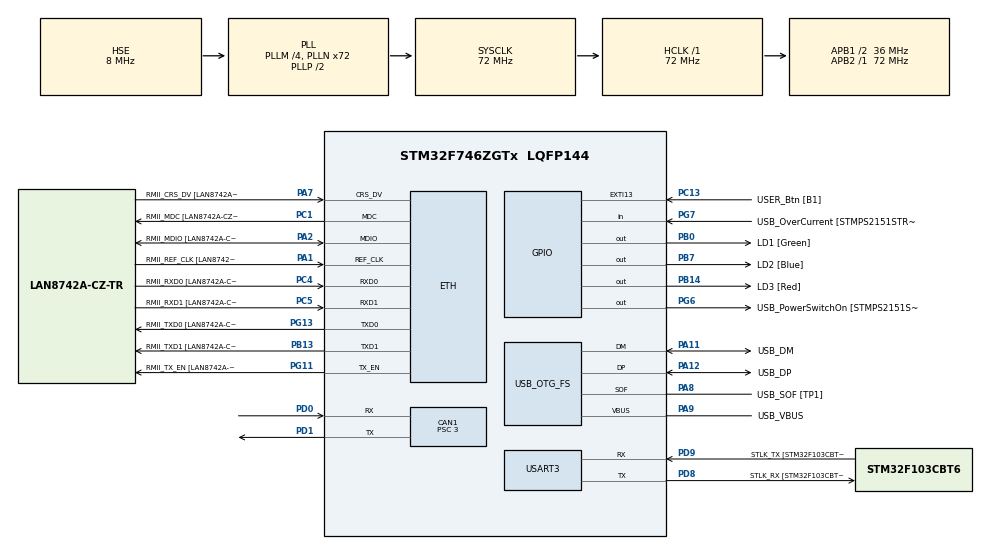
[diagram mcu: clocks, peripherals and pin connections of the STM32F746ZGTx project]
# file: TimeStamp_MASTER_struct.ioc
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CAN1.BS1=CAN_BS1_8TQ
CAN1.BS2=CAN_BS2_3TQ
CAN1.CalculateBaudRate=999999
CAN1.CalculateTimeBit=1000
CAN1.CalculateTimeQuantum=83.33333333333334
CAN1.NART=ENABLE
CAN1.Prescaler=3
CAN1.SJW=CAN_SJW_3TQ
ETH.MediaInterface=HAL_ETH_RMII_MODE
ETH.PHY_Name=LAN8742A_PHY_ADDRESS
ETH.PHY_Value=0
ETH.PhyAddress=0
Mcu.Family=STM32F7
Mcu.Name=STM32F746ZGTx
Mcu.Package=LQFP144
NVIC.CAN1_RX0_IRQn=true\:0\:0\:false\:false\:true\:true\:true\:true
NVIC.CAN1_SCE_IRQn=true\:0\:0\:false\:false\:true\:true\:true\:true
NVIC.OTG_FS_IRQn=true\:0\:0\:false\:false\:true\:false\:true\:true
NVIC.PriorityGroup=NVIC_PRIORITYGROUP_4
NVIC.TIM3_IRQn=true\:0\:0\:false\:false\:true\:true\:true\:true
PA1.GPIO_Label=RMII_REF_CLK [LAN8742A-CZ-TR_REFCLK0]
PA1.Mode=RMII
PA1.Signal=ETH_REF_CLK
PA10.GPIO_Label=USB_ID
PA10.Signal=USB_OTG_FS_ID
PA11.GPIO_Label=USB_DM
PA11.Mode=Device_Only
PA11.Signal=USB_OTG_FS_DM
PA12.GPIO_Label=USB_DP
PA12.Mode=Device_Only
PA12.Signal=USB_OTG_FS_DP
PA13.GPIO_Label=TMS
PA13.Mode=Serial_Wire
PA13.Signal=SYS_JTMS-SWDIO
PA14.GPIO_Label=TCK
PA14.Mode=Serial_Wire
PA14.Signal=SYS_JTCK-SWCLK
PA2.GPIO_Label=RMII_MDIO [LAN8742A-CZ-TR_MDIO]
PA2.Mode=RMII
PA2.Signal=ETH_MDIO
PA7.GPIO_Label=RMII_CRS_DV [LAN8742A-CZ-TR_CRS_DV]
PA7.Mode=RMII
PA7.Signal=ETH_CRS_DV
PA8.GPIO_Label=USB_SOF [TP1]
PA8.Mode=Activate_SOF_FS
PA8.Signal=USB_OTG_FS_SOF
PA9.GPIO_Label=USB_VBUS
PA9.Mode=Activate_VBUS
PA9.Signal=USB_OTG_FS_VBUS
PB0.GPIO_Label=LD1 [Green]
PB0.Signal=GPIO_Output
PB13.GPIO_Label=RMII_TXD1 [LAN8742A-CZ-TR_TXD1]
PB13.Mode=RMII
PB13.Signal=ETH_TXD1
PB14.GPIO_Label=LD3 [Red]
PB14.Signal=GPIO_Output
PB3.GPIO_Label=SW0
PB3.Signal=SYS_JTDO-SWO
PB7.GPIO_Label=LD2 [Blue]
PB7.Signal=GPIO_Output
PC1.GPIO_Label=RMII_MDC [LAN8742A-CZ-TR_MDC]
PC1.Mode=RMII
PC1.Signal=ETH_MDC
PC13.GPIO_Label=USER_Btn [B1]
PC13.Signal=GPXTI13
PC14/OSC32_IN.Mode=LSE-External-Oscillator
PC14/OSC32_IN.Signal=RCC_OSC32_IN
PC15/OSC32_OUT.Mode=LSE-External-Oscillator
PC15/OSC32_OUT.Signal=RCC_OSC32_OUT
PC4.GPIO_Label=RMII_RXD0 [LAN8742A-CZ-TR_RXD0]
PC4.Mode=RMII
PC4.Signal=ETH_RXD0
PC5.GPIO_Label=RMII_RXD1 [LAN8742A-CZ-TR_RXD1]
PC5.Mode=RMII
PC5.Signal=ETH_RXD1
PD0.Mode=CAN_Activate
PD0.Signal=CAN1_RX
PD1.Mode=CAN_Activate
PD1.Signal=CAN1_TX
PD8.GPIO_Label=STLK_RX [STM32F103CBT6_PA3]
PD8.GPIO_PuPd=GPIO_PULLUP
PD8.Mode=Asynchronous
PD8.Signal=USART3_TX
PD9.GPIO_Label=STLK_TX [STM32F103CBT6_PA2]
PD9.GPIO_PuPd=GPIO_PULLUP
PD9.Mode=Asynchronous
PD9.Signal=USART3_RX
PG11.GPIO_Label=RMII_TX_EN [LAN8742A-CZ-TR_TXEN]
PG11.Mode=RMII
PG11.Signal=ETH_TX_EN
PG13.GPIO_Label=RMII_TXD0 [LAN8742A-CZ-TR_TXD0]
PG13.Mode=RMII
PG13.Signal=ETH_TXD0
PG6.GPIO_Label=USB_PowerSwitchOn [STMPS2151STR_EN]
PG6.Signal=GPIO_Output
PG7.GPIO_Label=USB_OverCurrent [STMPS2151STR_FAULT]
PG7.Signal=GPIO_Input
PH0/OSC_IN.GPIO_Label=MCO [STM32F103CBT6_PA8]
PH0/OSC_IN.Mode=HSE-External-Clock-Source
PH0/OSC_IN.Signal=RCC_OSC_IN
PH1/OSC_OUT.Mode=HSE-External-Clock-Source
PH1/OSC_OUT.Signal=RCC_OSC_OUT
ProjectManager.HeapSize=0x200
ProjectManager.StackSize=0x400
ProjectManager.TargetToolchain=STM32CubeIDE
RCC.48MHZClocksFreq_Value=24000000
RCC.AHBFreq_Value=72000000
RCC.APB1CLKDivider=RCC_HCLK_DIV2
RCC.APB1Freq_Value=36000000
RCC.APB1TimFreq_Value=72000000
RCC.APB2Freq_Value=72000000
RCC.APB2TimFreq_Value=72000000
RCC.CortexFreq_Value=72000000
RCC.HCLKFreq_Value=72000000
RCC.HSE_VALUE=8000000
RCC.HSI_VALUE=16000000
RCC.PLLM=4
RCC.PLLMUL=RCC_PLL_MUL9
RCC.PLLN=72
RCC.PLLQ=3
RCC.PRESCALERUSB=RCC_USBCLKSOURCE_PLL_DIV1_5
RCC.SYSCLKFreq_VALUE=72000000
RCC.SYSCLKSource=RCC_SYSCLKSOURCE_PLLCLK
RCC.SYSCLKSourceVirtual=RCC_SYSCLKSOURCE_PLLCLK
RCC.USBFreq_Value=48000000
RCC.VCOOutputFreq_Value=144000000
TIM3.Period=10000-1
TIM3.Prescaler=7200-1
USART3.VirtualMode-Asynchronous=VM_ASYNC
USB_DEVICE.CLASS_NAME_FS=CDC
USB_DEVICE.USBD_MAX_NUM_INTERFACES-CDC_FS=1
USB_DEVICE.VirtualMode-CDC_FS=Cdc
USB_DEVICE.VirtualModeFS=Cdc_FS
USB_OTG_FS.VirtualMode=Device_Only
VP_TIM3_VS_ClockSourceINT.Mode=Internal
VP_USB_DEVICE_VS_USB_DEVICE_CDC_FS.Mode=CDC_FS
board=NUCLEO-F746ZG

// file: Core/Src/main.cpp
/* USER CODE BEGIN Header */
/**
  ******************************************************************************
  * @file           : main.c
  * @brief          : Main program body
  ******************************************************************************
  * @attention
  *
  * Copyright (c) 2023 STMicroelectronics.
  * All rights reserved.
  *
  * This software is licensed under terms that can be found in the LICENSE file
  * in the root directory of this software component.
  * If no LICENSE file comes with this software, it is provided AS-IS.
  *
  ******************************************************************************
  */
/* USER CODE END Header */
#include "main.h"
#include "string.h"
#include "usb_device.h"

/* USER CODE BEGIN Includes */
#include "system.h"
#include "CANmaster.h"
#include "PCIF.h"
#include "timeStampService.h"

/* USER CODE END Includes */

/* USER CODE BEGIN PD */
#define CAN_MASTER_NODE_ID 0

/* USER CODE END PD */

#if defined ( __ICCARM__ ) /*!< IAR Compiler */
#pragma location=0x2004c000
ETH_DMADescTypeDef  DMARxDscrTab[ETH_RX_DESC_CNT]; /* Ethernet Rx DMA Descriptors */
#pragma location=0x2004c0a0
ETH_DMADescTypeDef  DMATxDscrTab[ETH_TX_DESC_CNT]; /* Ethernet Tx DMA Descriptors */

#elif defined ( __CC_ARM )  /* MDK ARM Compiler */

__attribute__((at(0x2004c000))) ETH_DMADescTypeDef  DMARxDscrTab[ETH_RX_DESC_CNT]; /* Ethernet Rx DMA Descriptors */
__attribute__((at(0x2004c0a0))) ETH_DMADescTypeDef  DMATxDscrTab[ETH_TX_DESC_CNT]; /* Ethernet Tx DMA Descriptors */

#elif defined ( __GNUC__ ) /* GNU Compiler */
ETH_DMADescTypeDef DMARxDscrTab[ETH_RX_DESC_CNT] __attribute__((section(".RxDecripSection"))); /* Ethernet Rx DMA Descriptors */
ETH_DMADescTypeDef DMATxDscrTab[ETH_TX_DESC_CNT] __attribute__((section(".TxDecripSection")));   /* Ethernet Tx DMA Descriptors */

#endif

ETH_TxPacketConfig TxConfig;

CAN_HandleTypeDef hcan1;

ETH_HandleTypeDef heth;

TIM_HandleTypeDef htim3;

UART_HandleTypeDef huart3;

/* USER CODE BEGIN PV */
/** Flag global para decirle al main, desde la interrupción, que hay nuevos datos de USB disponibles. */
volatile uint8_t flagNewUSBdata = 0;
uint8_t bufferNewUSBdata[64];
uint8_t lenNewUSBdata = 0;

/** Flag global para decirle al main, desde la interrupción, que hay nuevos datos de CAN disponibles. */
volatile uint8_t flagNewCANdataRx0 = 0;

/** Flag global para decirle al main, desde la interrupción, que hay que enviar el mensaje para pedir los datos de los timestamps. */
volatile uint8_t flagRequestTimestampData = 0;

/** Interfaz master de CAN */
static CANmaster_t canMaster;

/** Interfaz con la PC */
static PCIF_t pcIf;

/** Servicio de toma de timestamps de los slaves */
static timeStampService_t timeStampService;

/** Este buffer se usa para encolar eventos que hayan ocurrido. Luego el dispatcher los toma y ejecuta en respuesta. */
static evBuffer eventsBuffer;

/** Cada vez que alguien quiere enviar un mensaje a través del bus CAN, debe depositar el mensaje en este buffer. */
static canMsgBuffer canTxBuffer;

/** Cada vez que se recibe un mensaje de CAN, el mensaje se copia en este buffer, para no perderlo y permitir que lleguen nuevos mensajes. */
static canMsgBuffer canRxBuffer;

/** Cada vez que se quiere enviar un mensaje a la PC, se deposita el mensaje acá. */
static PCIFMsgBuffer PCIFTxBuffer;

/** Cada vez que se recibe un mensaje desde la PC, se lo deposita acá. */
static PCIFMsgBuffer PCIFRxBuffer;

/** Punteros globales, sirven para que todos los miembros del sistema puedan acceder a estos elementos. */
evBuffer * const p_eventsBuffer = &eventsBuffer;
canMsgBuffer * const p_canTxBuffer = &canTxBuffer;
canMsgBuffer * const p_canRxBuffer = &canRxBuffer;
PCIFMsgBuffer * const p_PCIFTxBuffer = &PCIFTxBuffer;
PCIFMsgBuffer * const p_PCIFRxBuffer = &PCIFRxBuffer;

#ifdef __cplusplus
extern "C" {
#endif

/* USER CODE END PV */

void SystemClock_Config(void);
static void MX_GPIO_Init(void);
static void MX_ETH_Init(void);
static void MX_USART3_UART_Init(void);
static void MX_CAN1_Init(void);
static void MX_TIM3_Init(void);
/* USER CODE BEGIN PFP */

#ifdef __cplusplus
}
#endif

/* USER CODE END PFP */

int main(void)
{
  /* USER CODE BEGIN 1 */
  event_t event;
  PCIFmsg_t auxMsg;
  /* USER CODE END 1 */

  /* MCU Configuration--------------------------------------------------------*/

  /* Reset of all peripherals, Initializes the Flash interface and the Systick. */
  HAL_Init();

  /* Configure the system clock */
  SystemClock_Config();

  /* Initialize all configured peripherals */
  MX_GPIO_Init();
  MX_ETH_Init();
  MX_USART3_UART_Init();
  MX_CAN1_Init();
  MX_USB_DEVICE_Init();
  MX_TIM3_Init();
  /* USER CODE BEGIN 2 */

  //Dut.masterCANhandler = &hcan1;

  /* USER CODE END 2 */

  /* Infinite loop */
  /* USER CODE BEGIN WHILE */
  //STM32::gpio redLED(PORT_RED_LED, PIN_RED_LED);
  //STM32::gpio greenLED(PORT_GREEN_LED, PIN_GREEN_LED);
  //STM32::gpio blueLED(PORT_BLUE_LED, PIN_BLUE_LED);

  CANmaster_constructor(&canMaster, &hcan1, CAN_MASTER_NODE_ID);
  //CANmaster_constructor(&canMaster, &hcan1, CAN_MASTER_NODE_ID, &blueLED, &redLED, &greenLED);
  PCIF_constructor(&pcIf);
  timeStampService_constructor(&timeStampService, &htim3);

  stateMachine_init((stateMachine_t*)&canMaster);
  stateMachine_init((stateMachine_t*)&pcIf);

  stateMachine_init((stateMachine_t*)&timeStampService);

  HAL_Delay(5000);

  while (1)
  {
    /* USER CODE END WHILE */

    /* USER CODE BEGIN 3 */
	// Me fijo si llegaron datos nuevos de USB.
	if(flagNewUSBdata == 1)
	{
		// Genero un tipo de dato PCIFmsg_t y lo encolo.
		if( PCIFmsg_make_from_bytes(bufferNewUSBdata, lenNewUSBdata, &auxMsg) == 0 )
		{
			p_PCIFRxBuffer->write(auxMsg);
		}

		// Bajo el flag, indicando que ya puedo seguir recibiendo datos de USB.
		flagNewUSBdata = 0;
	}

	// Verifica si hay nuevos datos provenientes del bus CAN.
	if(flagNewCANdataRx0 == 1)
	{
		p_eventsBuffer->write(EV_CAN_FETCH_NEW_MSGS);

		// Bajo el flag, indicando que ya le avisé al CAN master acerca de los datos nuevos
		flagNewCANdataRx0 = 0;
	}

	// Verifica si hay que enviar el próximo mensaje
	if(flagRequestTimestampData == 1)
	{
		p_eventsBuffer->write(EV_REQUEST_TIMESTAMP);
		// Se baja el flag
		flagRequestTimestampData = 0;
	}

    // Verifica si hay mensajes de CAN esperando para ser enviados. En dicho caso, genera un evento.
	if(!p_canTxBuffer->is_empty())
	{
	  p_eventsBuffer->write(EV_CAN_SEND_NEXT_MSG);
	}

	// Verifica si hay mensajes de CAN que están esperando para ser leidos. En dicho caso, genera un evento.
	if(!p_canRxBuffer->is_empty())
	{
	  p_eventsBuffer->write(EV_CAN_PROCESS_NEW_MSG);
	}

	// Verifica si hay mensajes esperando para ser enviados a la PC. En dicho caso, genera un evento.
	if(!p_PCIFTxBuffer->is_empty())
	{
	  p_eventsBuffer->write(EV_COMPUTERIF_SEND_MSG);
	}

	// Verifica si hay mensajes esperando para ser leidos, provenientes de la PC. En dicho caso, genera un evento.
	if(!p_PCIFRxBuffer->is_empty())
	{
	  p_eventsBuffer->write(EV_COMPUTERIF_PROCESS_NEW_MSG);
	}

	// Si hay eventos en el buffer de eventos, toma uno y lo dispatchea.
	if(!p_eventsBuffer->is_empty())
	{
	  p_eventsBuffer->read(&event);
	  stateMachine_dispatch((stateMachine_t*)&canMaster, event);
	  stateMachine_dispatch((stateMachine_t*)&pcIf, event);
	  stateMachine_dispatch((stateMachine_t*)&timeStampService, event);

	}
  }
  /* USER CODE END 3 */
}

void SystemClock_Config(void)
{
  RCC_OscInitTypeDef RCC_OscInitStruct = {0};
  RCC_ClkInitTypeDef RCC_ClkInitStruct = {0};

  /** Configure LSE Drive Capability
  */
  HAL_PWR_EnableBkUpAccess();

  /** Configure the main internal regulator output voltage
  */
  __HAL_RCC_PWR_CLK_ENABLE();
  __HAL_PWR_VOLTAGESCALING_CONFIG(PWR_REGULATOR_VOLTAGE_SCALE3);

  /** Initializes the RCC Oscillators according to the specified parameters
  * in the RCC_OscInitTypeDef structure.
  */
  RCC_OscInitStruct.OscillatorType = RCC_OSCILLATORTYPE_HSE;
  RCC_OscInitStruct.HSEState = RCC_HSE_BYPASS;
  RCC_OscInitStruct.PLL.PLLState = RCC_PLL_ON;
  RCC_OscInitStruct.PLL.PLLSource = RCC_PLLSOURCE_HSE;
  RCC_OscInitStruct.PLL.PLLM = 4;
  RCC_OscInitStruct.PLL.PLLN = 72;
  RCC_OscInitStruct.PLL.PLLP = RCC_PLLP_DIV2;
  RCC_OscInitStruct.PLL.PLLQ = 3;
  if (HAL_RCC_OscConfig(&RCC_OscInitStruct) != HAL_OK)
  {
    Error_Handler();
  }

  /** Initializes the CPU, AHB and APB buses clocks
  */
  RCC_ClkInitStruct.ClockType = RCC_CLOCKTYPE_HCLK|RCC_CLOCKTYPE_SYSCLK
                              |RCC_CLOCKTYPE_PCLK1|RCC_CLOCKTYPE_PCLK2;
  RCC_ClkInitStruct.SYSCLKSource = RCC_SYSCLKSOURCE_PLLCLK;
  RCC_ClkInitStruct.AHBCLKDivider = RCC_SYSCLK_DIV1;
  RCC_ClkInitStruct.APB1CLKDivider = RCC_HCLK_DIV2;
  RCC_ClkInitStruct.APB2CLKDivider = RCC_HCLK_DIV1;

  if (HAL_RCC_ClockConfig(&RCC_ClkInitStruct, FLASH_LATENCY_2) != HAL_OK)
  {
    Error_Handler();
  }
}

static void MX_CAN1_Init(void)
{

  hcan1.Instance = CAN1;
  hcan1.Init.Prescaler = 3;
  hcan1.Init.Mode = CAN_MODE_NORMAL;
  hcan1.Init.SyncJumpWidth = CAN_SJW_3TQ;
  hcan1.Init.TimeSeg1 = CAN_BS1_8TQ;
  hcan1.Init.TimeSeg2 = CAN_BS2_3TQ;
  hcan1.Init.TimeTriggeredMode = DISABLE;
  hcan1.Init.AutoBusOff = DISABLE;
  hcan1.Init.AutoWakeUp = DISABLE;
  hcan1.Init.AutoRetransmission = ENABLE;
  hcan1.Init.ReceiveFifoLocked = DISABLE;
  hcan1.Init.TransmitFifoPriority = DISABLE;
  if (HAL_CAN_Init(&hcan1) != HAL_OK)
  {
    Error_Handler();
  }

}

static void MX_ETH_Init(void)
{

   static uint8_t MACAddr[6];

  heth.Instance = ETH;
  MACAddr[0] = 0x00;
  MACAddr[1] = 0x80;
  MACAddr[2] = 0xE1;
  MACAddr[3] = 0x00;
  MACAddr[4] = 0x00;
  MACAddr[5] = 0x00;
  heth.Init.MACAddr = &MACAddr[0];
  heth.Init.MediaInterface = HAL_ETH_RMII_MODE;
  heth.Init.TxDesc = DMATxDscrTab;
  heth.Init.RxDesc = DMARxDscrTab;
  heth.Init.RxBuffLen = 1524;

  if (HAL_ETH_Init(&heth) != HAL_OK)
  {
    Error_Handler();
  }

  memset(&TxConfig, 0 , sizeof(ETH_TxPacketConfig));
  TxConfig.Attributes = ETH_TX_PACKETS_FEATURES_CSUM | ETH_TX_PACKETS_FEATURES_CRCPAD;
  TxConfig.ChecksumCtrl = ETH_CHECKSUM_IPHDR_PAYLOAD_INSERT_PHDR_CALC;
  TxConfig.CRCPadCtrl = ETH_CRC_PAD_INSERT;

}

static void MX_TIM3_Init(void)
{

  TIM_ClockConfigTypeDef sClockSourceConfig = {0};
  TIM_MasterConfigTypeDef sMasterConfig = {0};

  htim3.Instance = TIM3;
  htim3.Init.Prescaler = 7200-1;
  htim3.Init.CounterMode = TIM_COUNTERMODE_UP;
  htim3.Init.Period = 10000-1;
  htim3.Init.ClockDivision = TIM_CLOCKDIVISION_DIV1;
  htim3.Init.AutoReloadPreload = TIM_AUTORELOAD_PRELOAD_DISABLE;
  if (HAL_TIM_Base_Init(&htim3) != HAL_OK)
  {
    Error_Handler();
  }
  sClockSourceConfig.ClockSource = TIM_CLOCKSOURCE_INTERNAL;
  if (HAL_TIM_ConfigClockSource(&htim3, &sClockSourceConfig) != HAL_OK)
  {
    Error_Handler();
  }
  sMasterConfig.MasterOutputTrigger = TIM_TRGO_RESET;
  sMasterConfig.MasterSlaveMode = TIM_MASTERSLAVEMODE_DISABLE;
  if (HAL_TIMEx_MasterConfigSynchronization(&htim3, &sMasterConfig) != HAL_OK)
  {
    Error_Handler();
  }

}

static void MX_USART3_UART_Init(void)
{

  huart3.Instance = USART3;
  huart3.Init.BaudRate = 115200;
  huart3.Init.WordLength = UART_WORDLENGTH_8B;
  huart3.Init.StopBits = UART_STOPBITS_1;
  huart3.Init.Parity = UART_PARITY_NONE;
  huart3.Init.Mode = UART_MODE_TX_RX;
  huart3.Init.HwFlowCtl = UART_HWCONTROL_NONE;
  huart3.Init.OverSampling = UART_OVERSAMPLING_16;
  huart3.Init.OneBitSampling = UART_ONE_BIT_SAMPLE_DISABLE;
  huart3.AdvancedInit.AdvFeatureInit = UART_ADVFEATURE_NO_INIT;
  if (HAL_UART_Init(&huart3) != HAL_OK)
  {
    Error_Handler();
  }

}

static void MX_GPIO_Init(void)
{
  GPIO_InitTypeDef GPIO_InitStruct = {0};

  /* GPIO Ports Clock Enable */
  __HAL_RCC_GPIOC_CLK_ENABLE();
  __HAL_RCC_GPIOH_CLK_ENABLE();
  __HAL_RCC_GPIOA_CLK_ENABLE();
  __HAL_RCC_GPIOB_CLK_ENABLE();
  __HAL_RCC_GPIOD_CLK_ENABLE();
  __HAL_RCC_GPIOG_CLK_ENABLE();

  /*Configure GPIO pin Output Level */
  HAL_GPIO_WritePin(GPIOB, LD1_Pin|LD3_Pin|LD2_Pin, GPIO_PIN_RESET);

  /*Configure GPIO pin Output Level */
  HAL_GPIO_WritePin(USB_PowerSwitchOn_GPIO_Port, USB_PowerSwitchOn_Pin, GPIO_PIN_RESET);

  /*Configure GPIO pin : USER_Btn_Pin */
  GPIO_InitStruct.Pin = USER_Btn_Pin;
  GPIO_InitStruct.Mode = GPIO_MODE_IT_RISING;
  GPIO_InitStruct.Pull = GPIO_NOPULL;
  HAL_GPIO_Init(USER_Btn_GPIO_Port, &GPIO_InitStruct);

  /*Configure GPIO pins : LD1_Pin LD3_Pin LD2_Pin */
  GPIO_InitStruct.Pin = LD1_Pin|LD3_Pin|LD2_Pin;
  GPIO_InitStruct.Mode = GPIO_MODE_OUTPUT_PP;
  GPIO_InitStruct.Pull = GPIO_NOPULL;
  GPIO_InitStruct.Speed = GPIO_SPEED_FREQ_LOW;
  HAL_GPIO_Init(GPIOB, &GPIO_InitStruct);

  /*Configure GPIO pin : USB_PowerSwitchOn_Pin */
  GPIO_InitStruct.Pin = USB_PowerSwitchOn_Pin;
  GPIO_InitStruct.Mode = GPIO_MODE_OUTPUT_PP;
  GPIO_InitStruct.Pull = GPIO_NOPULL;
  GPIO_InitStruct.Speed = GPIO_SPEED_FREQ_LOW;
  HAL_GPIO_Init(USB_PowerSwitchOn_GPIO_Port, &GPIO_InitStruct);

  /*Configure GPIO pin : USB_OverCurrent_Pin */
  GPIO_InitStruct.Pin = USB_OverCurrent_Pin;
  GPIO_InitStruct.Mode = GPIO_MODE_INPUT;
  GPIO_InitStruct.Pull = GPIO_NOPULL;
  HAL_GPIO_Init(USB_OverCurrent_GPIO_Port, &GPIO_InitStruct);

}

void Error_Handler(void)
{
  __disable_irq();
  while (1)
  {
  }
}
